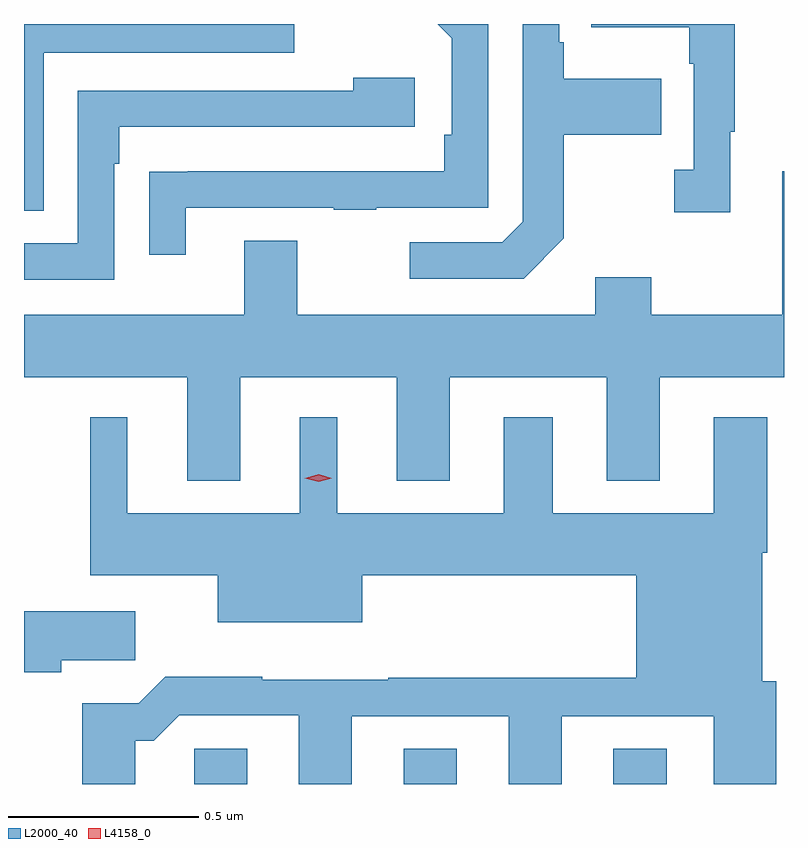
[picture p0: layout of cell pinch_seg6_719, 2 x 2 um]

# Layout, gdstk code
import gdstk
lib = gdstk.Library(unit=1e-6, precision=1e-09)
def R(c, l, rs):  # rectangles x0, y0, x1, y1
    for r in rs: c.add(gdstk.rectangle(r[:2], r[2:], *l))
def P(c, l, *ps):  # polygons
    for p in ps: c.add(gdstk.Polygon(p, *l))
L2000_40 = (2000, 40)
L4158_0 = (4158, 0)

pinch_seg6_719 = lib.new_cell('pinch_seg6_719')
R(pinch_seg6_719, L2000_40, [(498.504,942.269,498.643,942.362), (499.055,942.269,499.195,942.362), (499.607,942.269,499.747,942.362)])
P(pinch_seg6_719, L2000_40, [(498.481,943.785),(498.871,943.785),(498.871,943.78),(498.983,943.78),(498.983,943.785),(499.278,943.785),(499.278,944.269),(499.145,944.269),(499.182,944.232),(499.182,943.978),(499.162,943.978),(499.162,943.881),(498.487,943.881),(498.487,943.88),(498.385,943.88),(498.385,943.662),(498.481,943.662)],
  [(498.108,944.193),(498.767,944.193),(498.767,944.269),(498.056,944.269),(498.056,943.777),(498.108,943.777)],
  [(499.477,943.705),(499.477,943.978),(499.733,943.978),(499.733,944.125),(499.477,944.125),(499.477,944.221),(499.464,944.221),(499.464,944.269),(499.368,944.269),(499.368,943.749),(499.314,943.695),(499.071,943.695),(499.071,943.599),(499.371,943.599)],
  [(499.915,943.985),(499.927,943.985),(499.927,944.269),(499.549,944.269),(499.549,944.261),(499.806,944.261),(499.806,944.165),(499.818,944.165),(499.818,943.886),(499.767,943.886),(499.767,943.773),(499.915,943.773)],
  [(498.294,943.901),(498.307,943.901),(498.307,943.998),(499.084,943.998),(499.084,944.128),(498.923,944.128),(498.923,944.094),(498.198,944.094),(498.198,943.692),(498.056,943.692),(498.056,943.596),(498.294,943.596)],
  [(498.625,943.34),(499.037,943.34),(499.037,943.067),(499.177,943.067),(499.177,943.34),(499.589,943.34),(499.589,943.067),(499.729,943.067),(499.729,943.34),(500.056,943.34),(500.056,943.882),(500.051,943.882),(500.051,943.504),(499.707,943.504),(499.707,943.603),(499.559,943.603),(499.559,943.504),(498.775,943.504),(498.775,943.699),(498.635,943.699),(498.635,943.504),(498.056,943.504),(498.056,943.34),(498.485,943.34),(498.485,943.067),(498.625,943.067)],
  [(498.349,942.383),(498.398,942.383),(498.465,942.45),(498.779,942.45),(498.779,942.269),(498.919,942.269),(498.919,942.447),(499.331,942.447),(499.331,942.269),(499.471,942.269),(499.471,942.447),(499.871,942.447),(499.871,942.269),(500.036,942.269),(500.036,942.54),(499.999,942.54),(499.999,942.878),(500.012,942.878),(500.012,943.234),(499.871,943.234),(499.871,942.982),(499.447,942.982),(499.447,943.234),(499.319,943.234),(499.319,942.982),(498.88,942.982),(498.88,943.234),(498.782,943.234),(498.782,942.982),(498.328,942.982),(498.328,943.234),(498.23,943.234),(498.23,942.818),(498.566,942.818),(498.566,942.695),(498.946,942.695),(498.946,942.818),(499.667,942.818),(499.667,942.548),(499.015,942.548),(499.015,942.544),(498.683,942.544),(498.683,942.551),(498.428,942.551),(498.358,942.481),(498.209,942.481),(498.209,942.269),(498.349,942.269)],
  [(498.154,942.595),(498.349,942.595),(498.349,942.724),(498.056,942.724),(498.056,942.563),(498.154,942.563)])
P(pinch_seg6_719, L4158_0, [(498.831,943.064),(498.795,943.074),(498.795,943.074),(498.795,943.074),(498.831,943.084),(498.866,943.074),(498.866,943.074),(498.866,943.074)])

lib.write_gds('pinch_seg6_719.gds')
